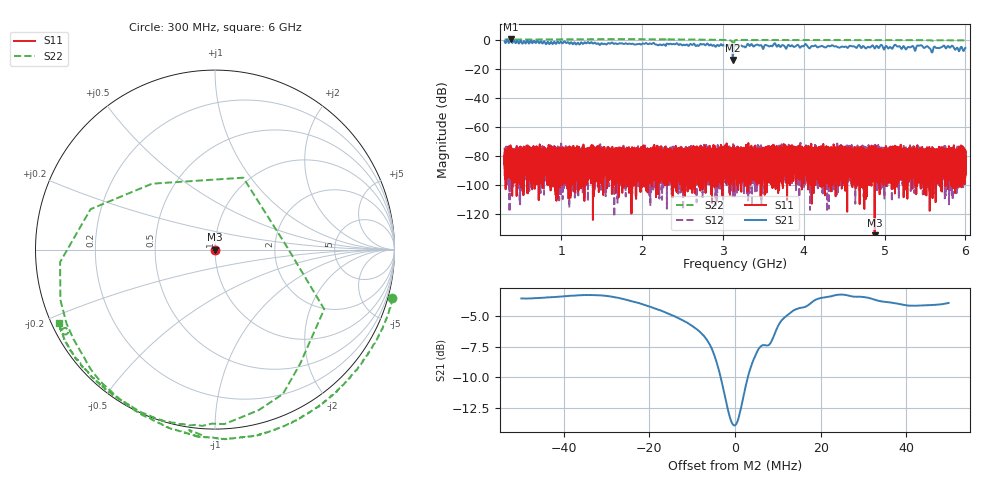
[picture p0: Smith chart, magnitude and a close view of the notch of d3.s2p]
!Agilent Technologies,N5230C,SG49000117,A.08.50.07
!Agilent N5230C: A.08.50.07
!Date: Sunday, March 17, 2024 01:20:21
!Correction: S11(Off)
!S21(Off)
!S12(Off)
!S22(Full 1 Port(2))
!S2P File: Measurements: S11, S21, S12, S22:
# Hz S  RI  R 50
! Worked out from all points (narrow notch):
!   20001 points, 300 MHz to 6 GHz, reference 50 ohm
!   highest |S21| = 0.46 dB at 374.1 MHz (marker M1); lowest = -13.9 dB at 3.123 GHz (marker M2)
!   notch at M2: 10.2 dB deep, 8.35 MHz wide at half that depth
!   lowest |S11| = -141.1 dB at 4.878 GHz (marker M3), VSWR 1.00, Z = 50 + j8.47e-06 ohm
!   |S11| at or under -10 dB: start of sweep to end of sweep
!   |S22| runs from -8.1 to 0.5 dB; largest |S21 - S12| = 1.1
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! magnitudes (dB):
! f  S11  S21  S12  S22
! 300 MHz  -79.7  -1.0  -89.3  0.2
! 374.1 MHz  -77.3  0.5  -75.9  0.2
! 1.25 GHz  -78.2  -1.8  -83.6  0.4
! 2.2 GHz  -82.0  -3.8  -87.5  0.4
! 3.073 GHz  -77.8  -3.6  -88.4  -0.2
! 3.123 GHz  -77.0  -13.9  -81.6  -5.5
! 3.15 GHz  -87.6  -3.4  -79.2  -0.5
! 3.187 GHz  -80.2  -3.4  -79.8  -0.1
! 3.487 GHz  -93.9  -5.0  -77.6  -0.1
! 3.637 GHz  -91.5  -2.4  -88.0  -0.1
! 3.776 GHz  -76.0  -5.8  -78.2  -0.1
! 4.02 GHz  -83.0  -2.8  -79.8  -0.1
! 4.1 GHz  -85.7  -4.2  -79.3  -0.1
! 4.878 GHz  -141.1  -5.9  -79.8  -0.1
! 5.05 GHz  -95.9  -5.9  -76.7  -0.2
! 5.14 GHz  -82.9  -3.7  -93.4  -0.2
! 5.374 GHz  -80.0  -7.5  -88.9  -0.2
! 5.434 GHz  -92.4  -4.0  -88.9  -0.2
! 5.537 GHz  -89.1  -4.7  -80.1  -0.3
! 5.576 GHz  -88.4  -7.6  -83.1  -0.3
! 5.721 GHz  -80.1  -4.4  -81.5  -0.3
! 6 GHz  -80.6  -5.5  -84.7  -0.3
